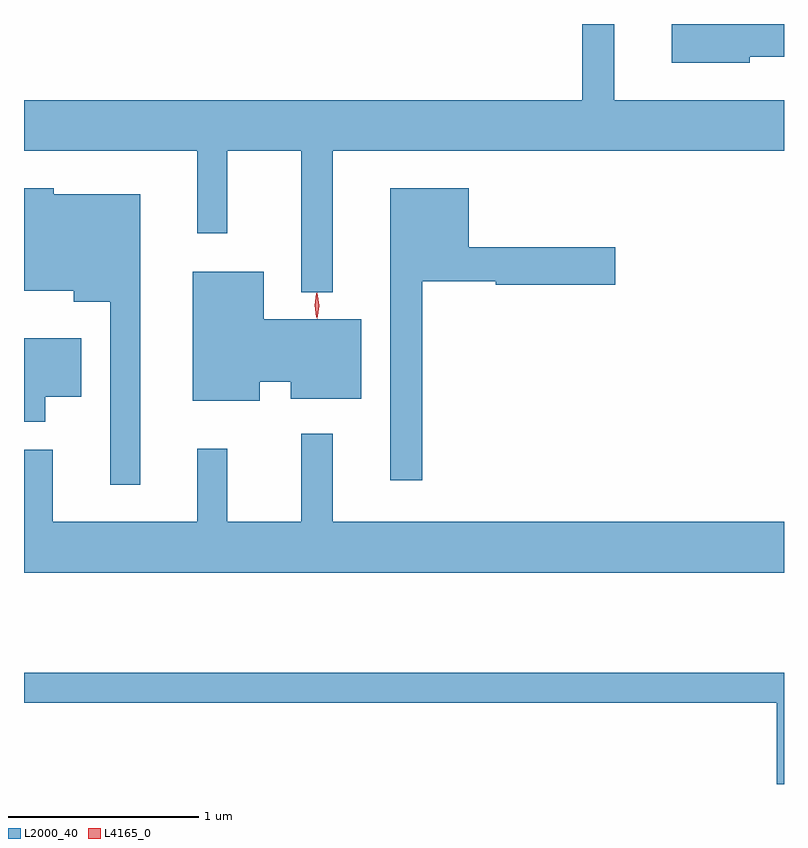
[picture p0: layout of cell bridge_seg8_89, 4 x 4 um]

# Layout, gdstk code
import gdstk
lib = gdstk.Library(unit=1e-6, precision=1e-09)
def P(c, l, *ps):  # polygons
    for p in ps: c.add(gdstk.Polygon(p, *l))
L2000_40 = (2000, 40)
L4165_0 = (4165, 0)

bridge_seg8_89 = lib.new_cell('bridge_seg8_89')
P(bridge_seg8_89, L2000_40, [(1525.689,1856.396),(1528.063,1856.396),(1528.063,1856.664),(1527.169,1856.664),(1527.169,1857.064),(1527.001,1857.064),(1527.001,1856.664),(1524.063,1856.664),(1524.063,1856.396),(1524.976,1856.396),(1524.976,1855.963),(1525.134,1855.963),(1525.134,1856.396),(1525.521,1856.396),(1525.521,1855.653),(1525.689,1855.653)],
  [(1527.884,1856.891),(1528.063,1856.891),(1528.063,1857.064),(1527.471,1857.064),(1527.471,1856.861),(1527.884,1856.861)],
  [(1526.159,1855.711),(1526.546,1855.711),(1526.546,1855.691),(1527.174,1855.691),(1527.174,1855.889),(1526.404,1855.889),(1526.404,1856.199),(1525.991,1856.199),(1525.991,1854.663),(1526.159,1854.663)],
  [(1524.674,1856.169),(1524.219,1856.169),(1524.219,1856.199),(1524.063,1856.199),(1524.063,1855.661),(1524.326,1855.661),(1524.326,1855.601),(1524.516,1855.601),(1524.516,1854.638),(1524.674,1854.638)],
  [(1525.304,1855.181),(1525.466,1855.181),(1525.466,1855.091),(1525.839,1855.091),(1525.839,1855.509),(1525.324,1855.509),(1525.324,1855.759),(1524.951,1855.759),(1524.951,1855.081),(1525.304,1855.081)],
  [(1524.174,1855.101),(1524.364,1855.101),(1524.364,1855.409),(1524.063,1855.409),(1524.063,1854.971),(1524.174,1854.971)],
  [(1528.063,1854.444),(1525.689,1854.444),(1525.689,1854.908),(1525.521,1854.908),(1525.521,1854.444),(1525.134,1854.444),(1525.134,1854.828),(1524.976,1854.828),(1524.976,1854.444),(1524.214,1854.444),(1524.214,1854.823),(1524.063,1854.823),(1524.063,1854.176),(1528.063,1854.176)],
  [(1528.063,1853.649),(1524.063,1853.649),(1524.063,1853.491),(1528.026,1853.491),(1528.026,1853.064),(1528.063,1853.064)])
P(bridge_seg8_89, L4165_0, [(1525.602,1855.521),(1525.593,1855.584),(1525.602,1855.646),(1525.603,1855.647),(1525.603,1855.646),(1525.613,1855.584),(1525.603,1855.521),(1525.603,1855.521)],
  [(1525.607,1855.513),(1525.606,1855.514),(1525.596,1855.582),(1525.606,1855.65),(1525.606,1855.65),(1525.607,1855.65),(1525.616,1855.582),(1525.607,1855.514)])

lib.write_gds('bridge_seg8_89.gds')
